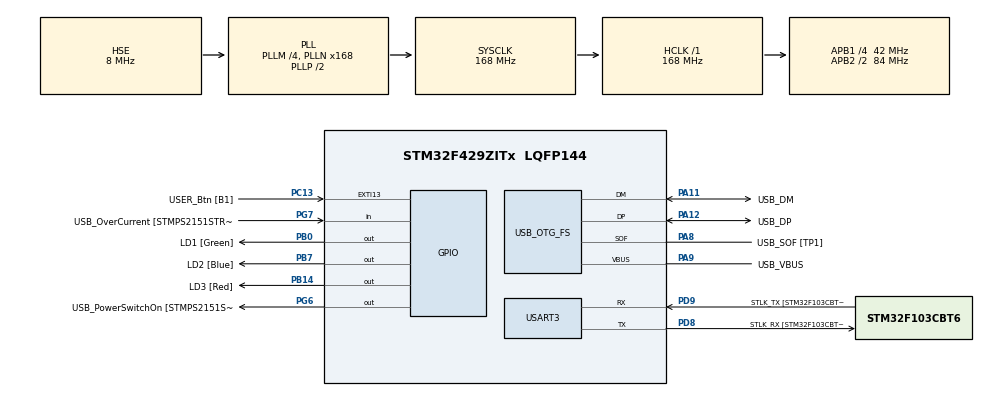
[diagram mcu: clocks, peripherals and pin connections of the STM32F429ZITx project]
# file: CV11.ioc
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Mcu.Family=STM32F4
Mcu.Name=STM32F429ZITx
Mcu.Package=LQFP144
NVIC.OTG_FS_IRQn=true\:0\:0\:false\:false\:true\:false\:true\:true
NVIC.PriorityGroup=NVIC_PRIORITYGROUP_4
PA1.GPIO_Label=RMII_REF_CLK [LAN8742A-CZ-TR_REFCLK0]
PA1.Signal=ETH_REF_CLK
PA10.GPIO_Label=USB_ID
PA10.Signal=USB_OTG_FS_ID
PA11.GPIO_Label=USB_DM
PA11.Mode=Device_Only
PA11.Signal=USB_OTG_FS_DM
PA12.GPIO_Label=USB_DP
PA12.Mode=Device_Only
PA12.Signal=USB_OTG_FS_DP
PA13.GPIO_Label=TMS
PA13.Mode=Serial_Wire
PA13.Signal=SYS_JTMS-SWDIO
PA14.GPIO_Label=TCK
PA14.Mode=Serial_Wire
PA14.Signal=SYS_JTCK-SWCLK
PA2.GPIO_Label=RMII_MDIO [LAN8742A-CZ-TR_MDIO]
PA2.Signal=ETH_MDIO
PA7.GPIO_Label=RMII_CRS_DV [LAN8742A-CZ-TR_CRS_DV]
PA7.Signal=ETH_CRS_DV
PA8.GPIO_Label=USB_SOF [TP1]
PA8.Mode=Activate_SOF_FS
PA8.Signal=USB_OTG_FS_SOF
PA9.GPIO_Label=USB_VBUS
PA9.Mode=Activate_VBUS
PA9.Signal=USB_OTG_FS_VBUS
PB0.GPIO_Label=LD1 [Green]
PB0.Signal=GPIO_Output
PB13.GPIO_Label=RMII_TXD1 [LAN8742A-CZ-TR_TXD1]
PB13.Signal=ETH_TXD1
PB14.GPIO_Label=LD3 [Red]
PB14.Signal=GPIO_Output
PB7.GPIO_Label=LD2 [Blue]
PB7.Signal=GPIO_Output
PC1.GPIO_Label=RMII_MDC [LAN8742A-CZ-TR_MDC]
PC1.Signal=ETH_MDC
PC13.GPIO_Label=USER_Btn [B1]
PC13.Signal=GPXTI13
PC14/OSC32_IN.Mode=LSE-External-Oscillator
PC14/OSC32_IN.Signal=RCC_OSC32_IN
PC15/OSC32_OUT.Mode=LSE-External-Oscillator
PC15/OSC32_OUT.Signal=RCC_OSC32_OUT
PC4.GPIO_Label=RMII_RXD0 [LAN8742A-CZ-TR_RXD0]
PC4.Signal=ETH_RXD0
PC5.GPIO_Label=RMII_RXD1 [LAN8742A-CZ-TR_RXD1]
PC5.Signal=ETH_RXD1
PD8.GPIO_Label=STLK_RX [STM32F103CBT6_PA3]
PD8.Mode=Asynchronous
PD8.Signal=USART3_TX
PD9.GPIO_Label=STLK_TX [STM32F103CBT6_PA2]
PD9.Mode=Asynchronous
PD9.Signal=USART3_RX
PG11.GPIO_Label=RMII_TX_EN [LAN8742A-CZ-TR_TXEN]
PG11.Signal=ETH_TX_EN
PG13.GPIO_Label=RMII_TXD0 [LAN8742A-CZ-TR_TXD0]
PG13.Signal=ETH_TXD0
PG6.GPIO_Label=USB_PowerSwitchOn [STMPS2151STR_EN]
PG6.Signal=GPIO_Output
PG7.GPIO_Label=USB_OverCurrent [STMPS2151STR_FAULT]
PG7.Signal=GPIO_Input
PH0/OSC_IN.GPIO_Label=MCO [STM32F103CBT6_PA8]
PH0/OSC_IN.Mode=HSE-External-Clock-Source
PH0/OSC_IN.Signal=RCC_OSC_IN
PH1/OSC_OUT.Mode=HSE-External-Clock-Source
PH1/OSC_OUT.Signal=RCC_OSC_OUT
ProjectManager.HeapSize=0x200
ProjectManager.StackSize=0x400
ProjectManager.TargetToolchain=STM32CubeIDE
RCC.48MHZClocksFreq_Value=48000000
RCC.AHBFreq_Value=168000000
RCC.APB1CLKDivider=RCC_HCLK_DIV4
RCC.APB1Freq_Value=42000000
RCC.APB1TimFreq_Value=84000000
RCC.APB2CLKDivider=RCC_HCLK_DIV2
RCC.APB2Freq_Value=84000000
RCC.APB2TimCLKDivider=2
RCC.APB2TimFreq_Value=168000000
RCC.CortexFreq_Value=168000000
RCC.HCLKFreq_Value=168000000
RCC.HSE_VALUE=8000000
RCC.HSI_VALUE=16000000
RCC.PLLM=4
RCC.PLLMUL=RCC_PLL_MUL9
RCC.PLLN=168
RCC.PLLQ=7
RCC.PRESCALERUSB=RCC_USBCLKSOURCE_PLL_DIV1_5
RCC.SYSCLKFreq_VALUE=168000000
RCC.SYSCLKSource=RCC_SYSCLKSOURCE_PLLCLK
RCC.SYSCLKSourceVirtual=RCC_SYSCLKSOURCE_PLLCLK
RCC.USBFreq_Value=48000000
RCC.VCOOutputFreq_Value=336000000
USART3.VirtualMode=VM_ASYNC
USB_DEVICE.CLASS_NAME_FS=HID
USB_DEVICE.VirtualMode-HID_FS=Hid
USB_DEVICE.VirtualModeFS=Hid_FS
USB_OTG_FS.VirtualMode=Device_Only
VP_USB_DEVICE_VS_USB_DEVICE_HID_FS.Mode=HID_FS
board=NUCLEO-F429ZI

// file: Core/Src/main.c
/* USER CODE BEGIN Header */
/**
  ******************************************************************************
  * @file           : main.c
  * @brief          : Main program body
  ******************************************************************************
  * @attention
  *
  * Copyright (c) 2023 STMicroelectronics.
  * All rights reserved.
  *
  * This software is licensed under terms that can be found in the LICENSE file
  * in the root directory of this software component.
  * If no LICENSE file comes with this software, it is provided AS-IS.
  *
  ******************************************************************************
  */
/* USER CODE END Header */
#include "main.h"
#include "usb_device.h"

/* USER CODE BEGIN Includes */
#include "usbd_hid.h"
#include "stdbool.h"
#include "math.h"
extern USBD_HandleTypeDef hUsbDeviceFS;
/* USER CODE END Includes */

UART_HandleTypeDef huart3;

void SystemClock_Config(void);
static void MX_GPIO_Init(void);
static void MX_USART3_UART_Init(void);

/* USER CODE BEGIN 0 */
static void step(int8_t x, int8_t y, bool btn) {
	uint8_t buff[4];
	if(btn){
		buff[0] = 1;
	}
	else{
		buff[0] = 0;
	}
	buff[1] = x; // Move X axis
	buff[2] = -y; // Move Y axis, Y axis is inverse, so -Y for standard imagination
	buff[3] = 0; // Mouse scroll
	USBD_HID_SendReport(&hUsbDeviceFS, buff, sizeof(buff));
	HAL_Delay(USBD_HID_GetPollingInterval(&hUsbDeviceFS)); // Delay for PC request
}
static void circle(int8_t radius, bool half) {

	static float sx = 0;
	static float sy = 0;
	for (uint8_t i = 0; i<=36; i++) {
		float x = radius*cosf(i*2*M_PI/36);
		float y = radius*sinf(i*2*M_PI/36);
		float dx = (x-sx);
		float dy = (y-sy);
		if ((half) && (i>=18)) {
			step(dx, dy, half);
		}
		else if ((half) && (i<18)) {
			step(0,0,0);
			step(dx, dy, false);
		}
		else {
			step(dx, dy,true);
		}
		sx=x;
		sy=y;
		HAL_Delay(10);
	}
	step(0,0 ,false);

}
void draw_smajlik(){
	circle(120,false);
	for(uint8_t i=1;i<5;i++){
		step(-2,-1 ,false);
	}
	circle(30,false);
	for(uint8_t i=1;i<11;i++){
		step(-8,0,false);
	}
	circle(30,false);
	for(uint8_t i=1;i<5;i++){
		step(4,0,false);
	}
	for(uint8_t i=1;i<5;i++){
		step(0,-8,true);
	}
	for(uint8_t i=1;i<5;i++){
		step(8,-8,false);
	}
	circle(30,true);

}
/* USER CODE END 0 */

int main(void)
{

  /* MCU Configuration--------------------------------------------------------*/

  /* Reset of all peripherals, Initializes the Flash interface and the Systick. */
  HAL_Init();

  /* Configure the system clock */
  SystemClock_Config();

  /* Initialize all configured peripherals */
  MX_GPIO_Init();
  MX_USART3_UART_Init();
  MX_USB_DEVICE_Init();

  /* Infinite loop */
  while (1)
  {
	  if (HAL_GPIO_ReadPin(USER_Btn_GPIO_Port, USER_Btn_Pin)) {
	  		  draw_smajlik();
	  }
  }
}

void SystemClock_Config(void)
{
  RCC_OscInitTypeDef RCC_OscInitStruct = {0};
  RCC_ClkInitTypeDef RCC_ClkInitStruct = {0};

  /** Configure the main internal regulator output voltage
  */
  __HAL_RCC_PWR_CLK_ENABLE();
  __HAL_PWR_VOLTAGESCALING_CONFIG(PWR_REGULATOR_VOLTAGE_SCALE1);

  /** Initializes the RCC Oscillators according to the specified parameters
  * in the RCC_OscInitTypeDef structure.
  */
  RCC_OscInitStruct.OscillatorType = RCC_OSCILLATORTYPE_HSE;
  RCC_OscInitStruct.HSEState = RCC_HSE_BYPASS;
  RCC_OscInitStruct.PLL.PLLState = RCC_PLL_ON;
  RCC_OscInitStruct.PLL.PLLSource = RCC_PLLSOURCE_HSE;
  RCC_OscInitStruct.PLL.PLLM = 4;
  RCC_OscInitStruct.PLL.PLLN = 168;
  RCC_OscInitStruct.PLL.PLLP = RCC_PLLP_DIV2;
  RCC_OscInitStruct.PLL.PLLQ = 7;
  if (HAL_RCC_OscConfig(&RCC_OscInitStruct) != HAL_OK)
  {
    Error_Handler();
  }

  /** Initializes the CPU, AHB and APB buses clocks
  */
  RCC_ClkInitStruct.ClockType = RCC_CLOCKTYPE_HCLK|RCC_CLOCKTYPE_SYSCLK
                              |RCC_CLOCKTYPE_PCLK1|RCC_CLOCKTYPE_PCLK2;
  RCC_ClkInitStruct.SYSCLKSource = RCC_SYSCLKSOURCE_PLLCLK;
  RCC_ClkInitStruct.AHBCLKDivider = RCC_SYSCLK_DIV1;
  RCC_ClkInitStruct.APB1CLKDivider = RCC_HCLK_DIV4;
  RCC_ClkInitStruct.APB2CLKDivider = RCC_HCLK_DIV2;

  if (HAL_RCC_ClockConfig(&RCC_ClkInitStruct, FLASH_LATENCY_5) != HAL_OK)
  {
    Error_Handler();
  }
}

static void MX_USART3_UART_Init(void)
{

  huart3.Instance = USART3;
  huart3.Init.BaudRate = 115200;
  huart3.Init.WordLength = UART_WORDLENGTH_8B;
  huart3.Init.StopBits = UART_STOPBITS_1;
  huart3.Init.Parity = UART_PARITY_NONE;
  huart3.Init.Mode = UART_MODE_TX_RX;
  huart3.Init.HwFlowCtl = UART_HWCONTROL_NONE;
  huart3.Init.OverSampling = UART_OVERSAMPLING_16;
  if (HAL_UART_Init(&huart3) != HAL_OK)
  {
    Error_Handler();
  }

}

static void MX_GPIO_Init(void)
{
  GPIO_InitTypeDef GPIO_InitStruct = {0};

  /* GPIO Ports Clock Enable */
  __HAL_RCC_GPIOC_CLK_ENABLE();
  __HAL_RCC_GPIOH_CLK_ENABLE();
  __HAL_RCC_GPIOA_CLK_ENABLE();
  __HAL_RCC_GPIOB_CLK_ENABLE();
  __HAL_RCC_GPIOD_CLK_ENABLE();
  __HAL_RCC_GPIOG_CLK_ENABLE();

  /*Configure GPIO pin Output Level */
  HAL_GPIO_WritePin(GPIOB, LD1_Pin|LD3_Pin|LD2_Pin, GPIO_PIN_RESET);

  /*Configure GPIO pin Output Level */
  HAL_GPIO_WritePin(USB_PowerSwitchOn_GPIO_Port, USB_PowerSwitchOn_Pin, GPIO_PIN_RESET);

  /*Configure GPIO pin : USER_Btn_Pin */
  GPIO_InitStruct.Pin = USER_Btn_Pin;
  GPIO_InitStruct.Mode = GPIO_MODE_IT_RISING;
  GPIO_InitStruct.Pull = GPIO_NOPULL;
  HAL_GPIO_Init(USER_Btn_GPIO_Port, &GPIO_InitStruct);

  /*Configure GPIO pins : RMII_MDC_Pin RMII_RXD0_Pin RMII_RXD1_Pin */
  GPIO_InitStruct.Pin = RMII_MDC_Pin|RMII_RXD0_Pin|RMII_RXD1_Pin;
  GPIO_InitStruct.Mode = GPIO_MODE_AF_PP;
  GPIO_InitStruct.Pull = GPIO_NOPULL;
  GPIO_InitStruct.Speed = GPIO_SPEED_FREQ_VERY_HIGH;
  GPIO_InitStruct.Alternate = GPIO_AF11_ETH;
  HAL_GPIO_Init(GPIOC, &GPIO_InitStruct);

  /*Configure GPIO pins : RMII_REF_CLK_Pin RMII_MDIO_Pin RMII_CRS_DV_Pin */
  GPIO_InitStruct.Pin = RMII_REF_CLK_Pin|RMII_MDIO_Pin|RMII_CRS_DV_Pin;
  GPIO_InitStruct.Mode = GPIO_MODE_AF_PP;
  GPIO_InitStruct.Pull = GPIO_NOPULL;
  GPIO_InitStruct.Speed = GPIO_SPEED_FREQ_VERY_HIGH;
  GPIO_InitStruct.Alternate = GPIO_AF11_ETH;
  HAL_GPIO_Init(GPIOA, &GPIO_InitStruct);

  /*Configure GPIO pins : LD1_Pin LD3_Pin LD2_Pin */
  GPIO_InitStruct.Pin = LD1_Pin|LD3_Pin|LD2_Pin;
  GPIO_InitStruct.Mode = GPIO_MODE_OUTPUT_PP;
  GPIO_InitStruct.Pull = GPIO_NOPULL;
  GPIO_InitStruct.Speed = GPIO_SPEED_FREQ_LOW;
  HAL_GPIO_Init(GPIOB, &GPIO_InitStruct);

  /*Configure GPIO pin : RMII_TXD1_Pin */
  GPIO_InitStruct.Pin = RMII_TXD1_Pin;
  GPIO_InitStruct.Mode = GPIO_MODE_AF_PP;
  GPIO_InitStruct.Pull = GPIO_NOPULL;
  GPIO_InitStruct.Speed = GPIO_SPEED_FREQ_VERY_HIGH;
  GPIO_InitStruct.Alternate = GPIO_AF11_ETH;
  HAL_GPIO_Init(RMII_TXD1_GPIO_Port, &GPIO_InitStruct);

  /*Configure GPIO pin : USB_PowerSwitchOn_Pin */
  GPIO_InitStruct.Pin = USB_PowerSwitchOn_Pin;
  GPIO_InitStruct.Mode = GPIO_MODE_OUTPUT_PP;
  GPIO_InitStruct.Pull = GPIO_NOPULL;
  GPIO_InitStruct.Speed = GPIO_SPEED_FREQ_LOW;
  HAL_GPIO_Init(USB_PowerSwitchOn_GPIO_Port, &GPIO_InitStruct);

  /*Configure GPIO pin : USB_OverCurrent_Pin */
  GPIO_InitStruct.Pin = USB_OverCurrent_Pin;
  GPIO_InitStruct.Mode = GPIO_MODE_INPUT;
  GPIO_InitStruct.Pull = GPIO_NOPULL;
  HAL_GPIO_Init(USB_OverCurrent_GPIO_Port, &GPIO_InitStruct);

  /*Configure GPIO pins : RMII_TX_EN_Pin RMII_TXD0_Pin */
  GPIO_InitStruct.Pin = RMII_TX_EN_Pin|RMII_TXD0_Pin;
  GPIO_InitStruct.Mode = GPIO_MODE_AF_PP;
  GPIO_InitStruct.Pull = GPIO_NOPULL;
  GPIO_InitStruct.Speed = GPIO_SPEED_FREQ_VERY_HIGH;
  GPIO_InitStruct.Alternate = GPIO_AF11_ETH;
  HAL_GPIO_Init(GPIOG, &GPIO_InitStruct);

}

void Error_Handler(void)
{
  __disable_irq();
  while (1)
  {
  }
}
